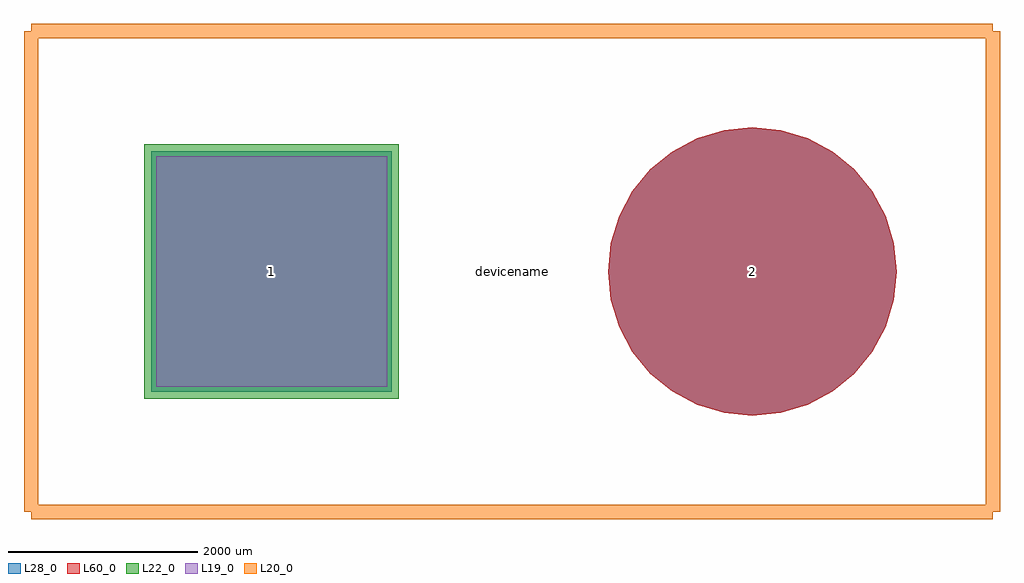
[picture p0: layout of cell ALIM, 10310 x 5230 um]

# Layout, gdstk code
import gdstk
lib = gdstk.Library(unit=1e-6, precision=1e-09)
def R(c, l, rs):  # rectangles x0, y0, x1, y1
    for r in rs: c.add(gdstk.rectangle(r[:2], r[2:], *l))
def P(c, l, *ps):  # polygons
    for p in ps: c.add(gdstk.Polygon(p, *l))
L19_0 = (19, 0)
L20_0 = (20, 0)
L22_0 = (22, 0)
L28_0 = (28, 0)
L60_0 = (60, 0)

alim = lib.new_cell('ALIM')
R(alim, L19_0, [(-3760,-1220,-1320,1220)])
R(alim, L22_0, [(-3885,-1345,-1195,1345)])
R(alim, L28_0, [(-3810,-1270,-1270,1270)])
P(alim, L28_0, [(4064,0),(4034.717,297.318),(3947.992,583.21),(3807.16,846.689),(3617.631,1077.631),(3386.689,1267.16),(3123.21,1407.992),(2837.318,1494.717),(2540,1524),(2242.682,1494.717),(1956.79,1407.992),(1693.311,1267.16),(1462.369,1077.631),(1272.84,846.689),(1132.008,583.21),(1045.283,297.318),(1016,0),(1045.283,-297.318),(1132.008,-583.21),(1272.84,-846.689),(1462.369,-1077.631),(1693.311,-1267.16),(1956.79,-1407.992),(2242.682,-1494.717),(2540,-1524),(2837.318,-1494.717),(3123.21,-1407.992),(3386.689,-1267.16),(3617.631,-1077.631),(3807.16,-846.689),(3947.992,-583.21),(4034.717,-297.318)])
P(alim, L60_0, [(4064,0),(4034.717,297.318),(3947.992,583.21),(3807.16,846.689),(3617.631,1077.631),(3386.689,1267.16),(3123.21,1407.992),(2837.318,1494.717),(2540,1524),(2242.682,1494.717),(1956.79,1407.992),(1693.311,1267.16),(1462.369,1077.631),(1272.84,846.689),(1132.008,583.21),(1045.283,297.318),(1016,0),(1045.283,-297.318),(1132.008,-583.21),(1272.84,-846.689),(1462.369,-1077.631),(1693.311,-1267.16),(1956.79,-1407.992),(2242.682,-1494.717),(2540,-1524),(2837.318,-1494.717),(3123.21,-1407.992),(3386.689,-1267.16),(3617.631,-1077.631),(3807.16,-846.689),(3947.992,-583.21),(4034.717,-297.318)])
alim.add(gdstk.FlexPath([(-5080,-2540),(-5080,2540)], 149.998, ends="flush", simple_path=True, layer=20, datatype=0))  # L20_0
alim.add(gdstk.FlexPath([(5080,-2540),(-5080,-2540)], 149.998, ends="flush", simple_path=True, layer=20, datatype=0))  # L20_0
alim.add(gdstk.FlexPath([(5080,2540),(5080,-2540)], 149.998, ends="flush", simple_path=True, layer=20, datatype=0))  # L20_0
alim.add(gdstk.FlexPath([(-5080,2540),(5080,2540)], 149.998, ends="flush", simple_path=True, layer=20, datatype=0))  # L20_0
alim.add(gdstk.Label('2', (2540,0), layer=28, texttype=0))
alim.add(gdstk.Label('1', (-2540,0), layer=28, texttype=0))
alim.add(gdstk.Label('type', (0,-3810), layer=9, texttype=0))
alim.add(gdstk.Label('devicename', (0,0), layer=9, texttype=0))

lib.write_gds('ALIM.gds')
